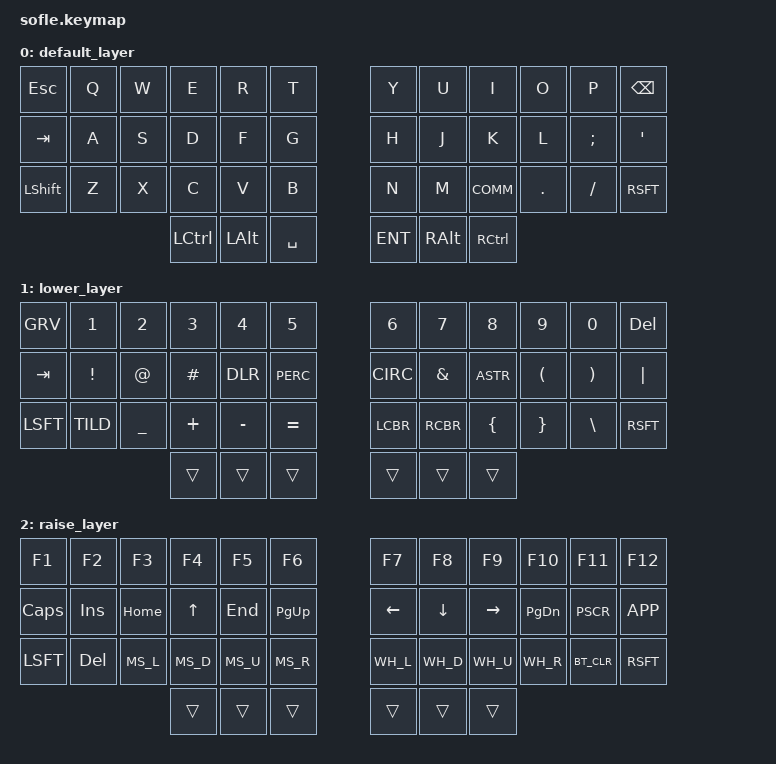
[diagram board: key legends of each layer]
#include <behaviors.dtsi>
#include <dt-bindings/zmk/keys.h>
#include <dt-bindings/zmk/bt.h>

/ {
    keymap {
        compatible = "zmk,keymap";

        default_layer {
            bindings = <
                // Left Hand (Rows 1-4)
                &kp ESC    &kp Q    &kp W    &kp E    &kp R    &kp T         &kp Y    &kp U    &kp I    &kp O    &kp P    &kp BSPC
                &kp TAB    &kp A    &kp S    &kp D    &kp F    &kp G         &kp H    &kp J    &kp K    &kp L    &kp SCLN &kp QUOT
                &kp LSHFT  &kp Z    &kp X    &kp C    &kp V    &kp B         &kp N    &kp M    &kp COMM &kp DOT  &kp FSLH &kp RSFT
                                        &kp LCTL &kp LALT &kp SPC           &kp ENT  &kp RALT &kp RCTL
            >;
        };

        lower_layer {
            bindings = <
                // Numbers + Symbols
                &kp GRV  &kp N1 &kp N2 &kp N3 &kp N4 &kp N5         &kp N6 &kp N7 &kp N8    &kp N9    &kp N0    &kp DEL
                &kp TAB  &kp EXCL &kp AT &kp HASH &kp DLR &kp PERC    &kp CIRC &kp AMPS &kp ASTR &kp LPRN &kp RPRN &kp PIPE
                &kp LSFT &kp TILD &kp UNDER &kp PLUS &kp MINUS &kp EQL &kp LCBR &kp RCBR &kp LBRC &kp RBRC &kp BSLH &kp RSFT
                                            &trans &trans &trans       &trans &trans &trans
            >;
        };

        raise_layer {
            bindings = <
                // Function Keys + Navigation
                &kp F1   &kp F2  &kp F3  &kp F4  &kp F5  &kp F6        &kp F7   &kp F8   &kp F9   &kp F10  &kp F11  &kp F12
                &kp CAPS &kp INS &kp HOME &kp UP  &kp END &kp PG_UP     &kp LEFT &kp DOWN &kp RIGHT &kp PG_DN &kp PSCR &kp APP
                &kp LSFT &kp DEL &kp MS_L &kp MS_D &kp MS_U &kp MS_R    &kp WH_L &kp WH_D &kp WH_U &kp WH_R &kp BT_CLR &kp RSFT
                                            &trans &trans &trans       &trans &trans &trans
            >;
        };
    };

    // Rotary Encoder Bindings (Left Side)
    left_encoder: encoder_left {
        compatible = "alps,ec11";
        a-gpios = <&pro_micro 0 (GPIO_ACTIVE_HIGH | GPIO_PULL_UP)>;
        b-gpios = <&pro_micro 1 (GPIO_ACTIVE_HIGH | GPIO_PULL_UP)>;
        steps = <15>;
        status = "okay";
        bindings = <&kp PG_UP>, <&kp PG_DN>;
    };

    // Rotary Encoder Bindings (Right Side)
    right_encoder: encoder_right {
        compatible = "alps,ec11";
        a-gpios = <&pro_micro 0 (GPIO_ACTIVE_HIGH | GPIO_PULL_UP)>;
        b-gpios = <&pro_micro 1 (GPIO_ACTIVE_HIGH | GPIO_PULL_UP)>;
        steps = <15>;
        status = "okay";
        bindings = <&kp VOL_UP>, <&kp VOL_DN>;
    };

    // Joystick Configuration
    joystick: joystick {
        compatible = "zmk,joystick";
        x-input = <&pro_micro 2 GPIO_ACTIVE_HIGH>;
        y-input = <&pro_micro 3 GPIO_ACTIVE_HIGH>;
        btn-input = <&pro_micro 4 GPIO_ACTIVE_HIGH>;
        bindings = <&kp LEFT>, <&kp RIGHT>, <&kp UP>, <&kp DOWN>, <&kp ENTER>;
    };
};
